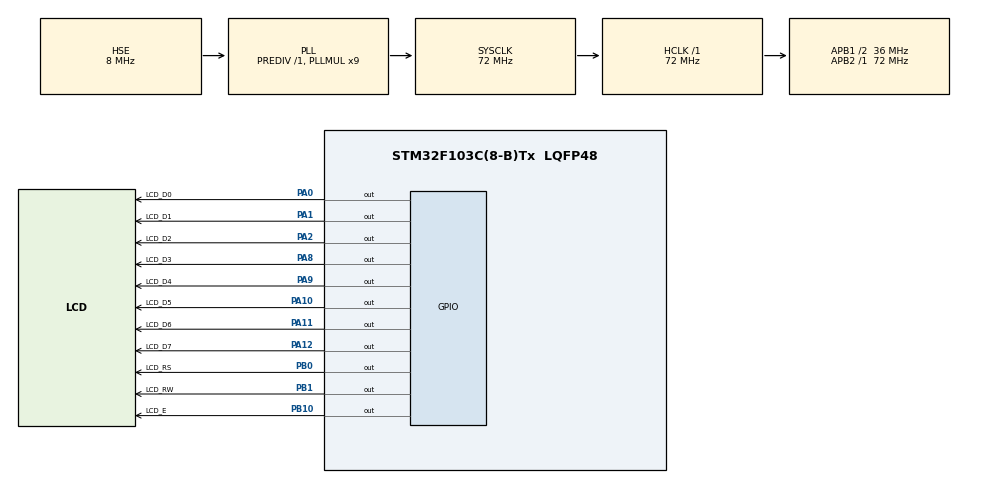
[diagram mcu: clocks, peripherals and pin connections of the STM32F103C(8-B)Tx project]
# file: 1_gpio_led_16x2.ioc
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Mcu.Family=STM32F1
Mcu.Name=STM32F103C(8-B)Tx
Mcu.Package=LQFP48
NVIC.PriorityGroup=NVIC_PRIORITYGROUP_4
PA0-WKUP.GPIO_Label=LCD_D0
PA0-WKUP.Signal=GPIO_Output
PA1.GPIO_Label=LCD_D1
PA1.Signal=GPIO_Output
PA10.GPIO_Label=LCD_D5
PA10.Signal=GPIO_Output
PA11.GPIO_Label=LCD_D6
PA11.Signal=GPIO_Output
PA12.GPIO_Label=LCD_D7
PA12.Signal=GPIO_Output
PA13.Mode=Serial_Wire
PA13.Signal=SYS_JTMS-SWDIO
PA14.Mode=Serial_Wire
PA14.Signal=SYS_JTCK-SWCLK
PA2.GPIO_Label=LCD_D2
PA2.Signal=GPIO_Output
PA8.GPIO_Label=LCD_D3
PA8.Signal=GPIO_Output
PA9.GPIO_Label=LCD_D4
PA9.Signal=GPIO_Output
PB0.GPIO_Label=LCD_RS
PB0.Signal=GPIO_Output
PB1.GPIO_Label=LCD_RW
PB1.Signal=GPIO_Output
PB10.GPIO_Label=LCD_E
PB10.Signal=GPIO_Output
PD0-OSC_IN.Mode=HSE-External-Oscillator
PD0-OSC_IN.Signal=RCC_OSC_IN
PD1-OSC_OUT.Mode=HSE-External-Oscillator
PD1-OSC_OUT.Signal=RCC_OSC_OUT
ProjectManager.HeapSize=0x200
ProjectManager.StackSize=0x400
ProjectManager.TargetToolchain=MDK-ARM V5.32
RCC.AHBFreq_Value=72000000
RCC.APB1CLKDivider=RCC_HCLK_DIV2
RCC.APB1Freq_Value=36000000
RCC.APB1TimFreq_Value=72000000
RCC.APB2Freq_Value=72000000
RCC.APB2TimFreq_Value=72000000
RCC.HCLKFreq_Value=72000000
RCC.PLLMUL=RCC_PLL_MUL9
RCC.PLLSourceVirtual=RCC_PLLSOURCE_HSE
RCC.SYSCLKFreq_VALUE=72000000
RCC.SYSCLKSource=RCC_SYSCLKSOURCE_PLLCLK
RCC.USBFreq_Value=72000000
board=custom

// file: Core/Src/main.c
/* USER CODE BEGIN Header */
/**
  ******************************************************************************
  * @file           : main.c
  * @brief          : Main program body
  ******************************************************************************
  * @attention
  *
  * Copyright (c) 2026 STMicroelectronics.
  * All rights reserved.
  *
  * This software is licensed under terms that can be found in the LICENSE file
  * in the root directory of this software component.
  * If no LICENSE file comes with this software, it is provided AS-IS.
  *
  ******************************************************************************
  */
/* USER CODE END Header */
#include "main.h"

/* USER CODE BEGIN Includes */
#include "MyLcdLib.h"
/* USER CODE END Includes */

void SystemClock_Config(void);
static void MX_GPIO_Init(void);

int main(void)
{

  /* MCU Configuration--------------------------------------------------------*/

  /* Reset of all peripherals, Initializes the Flash interface and the Systick. */
  HAL_Init();

  /* Configure the system clock */
  SystemClock_Config();

  /* Initialize all configured peripherals */
  MX_GPIO_Init();
  /* USER CODE BEGIN 2 */
	LCD_Config_t myLcd = {
		{LCD_D0_GPIO_Port, LCD_D0_Pin},
		{LCD_D1_GPIO_Port, LCD_D1_Pin},
		{LCD_D2_GPIO_Port, LCD_D2_Pin},
		{LCD_D3_GPIO_Port, LCD_D3_Pin},
		{LCD_D4_GPIO_Port, LCD_D4_Pin},
		{LCD_D5_GPIO_Port, LCD_D5_Pin},
		{LCD_D6_GPIO_Port, LCD_D6_Pin},
		{LCD_D7_GPIO_Port, LCD_D7_Pin},
		{LCD_RS_GPIO_Port, LCD_RS_Pin},
		{LCD_RW_GPIO_Port, LCD_RW_Pin},
		{LCD_E_GPIO_Port, LCD_E_Pin}
	};

	LCD_init(&myLcd);

// practice 1
// LCD_Write_data('A');

// practice 2
//	LCD_Print(&myLcd, "Em Huong");
//	LCD_SetCursor(&myLcd, 1, 0);
//	LCD_Print(&myLcd, "ngan hang");

// practice 3
//	LCD_ScrollText_Circular(&myLcd, "em Huong ngan hang, va anh Tuan Anh lap trinh", 300);

  /* USER CODE END 2 */

  /* Infinite loop */
  while (1)
  {
		LCD_ScrollText_Circular(&myLcd, "em Huong ngan hang, va anh Tuan Anh lap trinh ", 100);
  }
}

void SystemClock_Config(void)
{
  RCC_OscInitTypeDef RCC_OscInitStruct = {0};
  RCC_ClkInitTypeDef RCC_ClkInitStruct = {0};

  /** Initializes the RCC Oscillators according to the specified parameters
  * in the RCC_OscInitTypeDef structure.
  */
  RCC_OscInitStruct.OscillatorType = RCC_OSCILLATORTYPE_HSE;
  RCC_OscInitStruct.HSEState = RCC_HSE_ON;
  RCC_OscInitStruct.HSEPredivValue = RCC_HSE_PREDIV_DIV1;
  RCC_OscInitStruct.HSIState = RCC_HSI_ON;
  RCC_OscInitStruct.PLL.PLLState = RCC_PLL_ON;
  RCC_OscInitStruct.PLL.PLLSource = RCC_PLLSOURCE_HSE;
  RCC_OscInitStruct.PLL.PLLMUL = RCC_PLL_MUL9;
  if (HAL_RCC_OscConfig(&RCC_OscInitStruct) != HAL_OK)
  {
    Error_Handler();
  }

  /** Initializes the CPU, AHB and APB buses clocks
  */
  RCC_ClkInitStruct.ClockType = RCC_CLOCKTYPE_HCLK|RCC_CLOCKTYPE_SYSCLK
                              |RCC_CLOCKTYPE_PCLK1|RCC_CLOCKTYPE_PCLK2;
  RCC_ClkInitStruct.SYSCLKSource = RCC_SYSCLKSOURCE_PLLCLK;
  RCC_ClkInitStruct.AHBCLKDivider = RCC_SYSCLK_DIV1;
  RCC_ClkInitStruct.APB1CLKDivider = RCC_HCLK_DIV2;
  RCC_ClkInitStruct.APB2CLKDivider = RCC_HCLK_DIV1;

  if (HAL_RCC_ClockConfig(&RCC_ClkInitStruct, FLASH_LATENCY_2) != HAL_OK)
  {
    Error_Handler();
  }
}

static void MX_GPIO_Init(void)
{
  GPIO_InitTypeDef GPIO_InitStruct = {0};

  /* GPIO Ports Clock Enable */
  __HAL_RCC_GPIOD_CLK_ENABLE();
  __HAL_RCC_GPIOA_CLK_ENABLE();
  __HAL_RCC_GPIOB_CLK_ENABLE();

  /*Configure GPIO pin Output Level */
  HAL_GPIO_WritePin(GPIOA, LCD_D0_Pin|LCD_D1_Pin|LCD_D2_Pin|LCD_D3_Pin
                          |LCD_D4_Pin|LCD_D5_Pin|LCD_D6_Pin|LCD_D7_Pin, GPIO_PIN_RESET);

  /*Configure GPIO pin Output Level */
  HAL_GPIO_WritePin(GPIOB, LCD_RS_Pin|LCD_RW_Pin|LCD_E_Pin, GPIO_PIN_RESET);

  /*Configure GPIO pins : LCD_D0_Pin LCD_D1_Pin LCD_D2_Pin LCD_D3_Pin
                           LCD_D4_Pin LCD_D5_Pin LCD_D6_Pin LCD_D7_Pin */
  GPIO_InitStruct.Pin = LCD_D0_Pin|LCD_D1_Pin|LCD_D2_Pin|LCD_D3_Pin
                          |LCD_D4_Pin|LCD_D5_Pin|LCD_D6_Pin|LCD_D7_Pin;
  GPIO_InitStruct.Mode = GPIO_MODE_OUTPUT_PP;
  GPIO_InitStruct.Pull = GPIO_NOPULL;
  GPIO_InitStruct.Speed = GPIO_SPEED_FREQ_LOW;
  HAL_GPIO_Init(GPIOA, &GPIO_InitStruct);

  /*Configure GPIO pins : LCD_RS_Pin LCD_RW_Pin LCD_E_Pin */
  GPIO_InitStruct.Pin = LCD_RS_Pin|LCD_RW_Pin|LCD_E_Pin;
  GPIO_InitStruct.Mode = GPIO_MODE_OUTPUT_PP;
  GPIO_InitStruct.Pull = GPIO_NOPULL;
  GPIO_InitStruct.Speed = GPIO_SPEED_FREQ_LOW;
  HAL_GPIO_Init(GPIOB, &GPIO_InitStruct);

}

void Error_Handler(void)
{
  __disable_irq();
  while (1)
  {
  }
}
